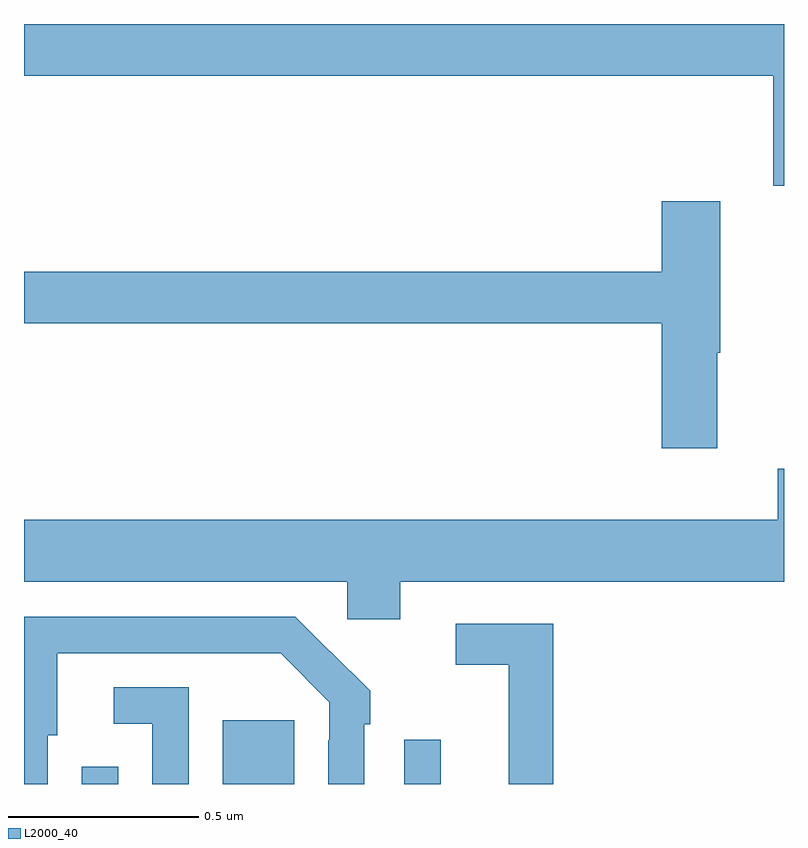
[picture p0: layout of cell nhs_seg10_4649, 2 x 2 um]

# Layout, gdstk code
import gdstk
lib = gdstk.Library(unit=1e-6, precision=1e-09)
def R(c, l, rs):  # rectangles x0, y0, x1, y1
    for r in rs: c.add(gdstk.rectangle(r[:2], r[2:], *l))
def P(c, l, *ps):  # polygons
    for p in ps: c.add(gdstk.Polygon(p, *l))
L2000_40 = (2000, 40)

nhs_seg10_4649 = lib.new_cell('nhs_seg10_4649')
R(nhs_seg10_4649, L2000_40, [(169.152,1250.5,169.248,1250.545), (169.523,1250.5,169.711,1250.668), (170.001,1250.5,170.097,1250.617)])
P(nhs_seg10_4649, L2000_40, [(171,1252.5),(169,1252.5),(169,1252.364),(170.972,1252.364),(170.972,1252.074),(171,1252.074)],
  [(170.824,1251.635),(170.832,1251.635),(170.832,1252.033),(170.678,1252.033),(170.678,1251.848),(169,1251.848),(169,1251.712),(170.678,1251.712),(170.678,1251.384),(170.824,1251.384)],
  [(169.99,1251.032),(171,1251.032),(171,1251.33),(170.983,1251.33),(170.983,1251.196),(169,1251.196),(169,1251.032),(169.851,1251.032),(169.851,1250.934),(169.99,1250.934)],
  [(169.063,1250.628),(169.087,1250.628),(169.087,1250.844),(169.675,1250.844),(169.803,1250.715),(169.803,1250.615),(169.8,1250.615),(169.8,1250.5),(169.896,1250.5),(169.896,1250.657),(169.911,1250.657),(169.911,1250.745),(169.806,1250.85),(169.805,1250.849),(169.714,1250.94),(169,1250.94),(169,1250.5),(169.063,1250.5)],
  [(170.393,1250.922),(170.136,1250.922),(170.136,1250.814),(170.276,1250.814),(170.276,1250.5),(170.393,1250.5)],
  [(169.434,1250.754),(169.236,1250.754),(169.236,1250.658),(169.338,1250.658),(169.338,1250.5),(169.434,1250.5)])

lib.write_gds('nhs_seg10_4649.gds')
